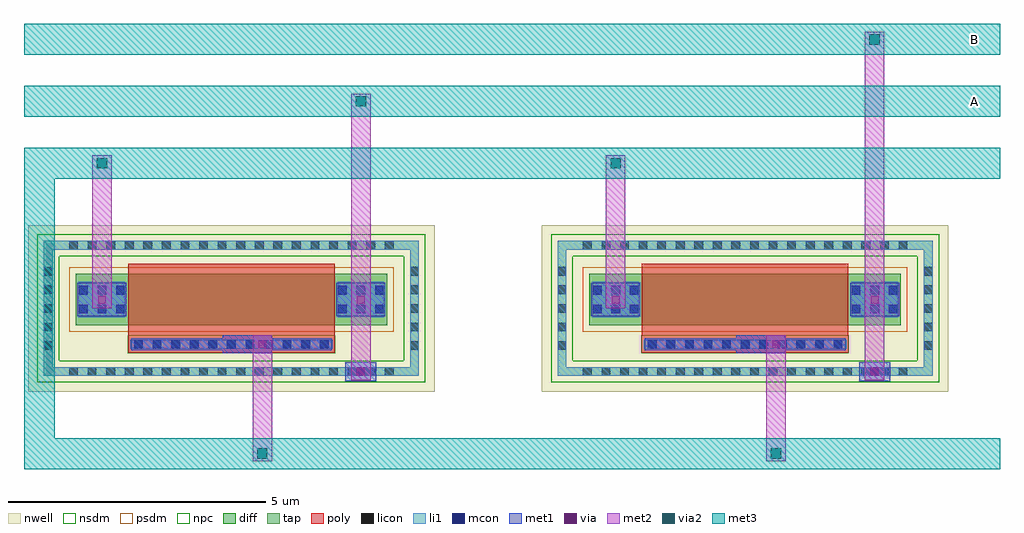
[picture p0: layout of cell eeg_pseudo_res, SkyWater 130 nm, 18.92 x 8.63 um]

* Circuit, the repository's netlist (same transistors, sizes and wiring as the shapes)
* Extracted by KLayout with SKY130 LVS runset on : 05/09/2026 11:02

.SUBCKT eeg_pseudo_res A B
M$1 \$5 \$5 B B sky130_fd_pr__pfet_01v8 L=4 W=1 AS=1.02 AD=1.02 PS=4.04 PD=4.04
M$2 \$5 \$5 A A sky130_fd_pr__pfet_01v8 L=4 W=1 AS=1.02 AD=1.02 PS=4.04 PD=4.04
.ENDS eeg_pseudo_res

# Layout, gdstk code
import gdstk
lib = gdstk.Library(unit=1e-6, precision=1e-09)
def R(c, l, rs):  # rectangles x0, y0, x1, y1
    for r in rs: c.add(gdstk.rectangle(r[:2], r[2:], *l))
def A(c, l, x, y, w, h, nx, ny, dx, dy):  # array of equal rectangles
    R(c, l, [(x+i*dx, y+j*dy, x+i*dx+w, y+j*dy+h) for i in range(nx) for j in range(ny)])
def P(c, l, *ps):  # polygons
    for p in ps: c.add(gdstk.Polygon(p, *l))
nwell = (64, 20)
diff = (65, 20)
tap = (65, 44)
poly = (66, 20)
licon = (66, 44)
li1 = (67, 20)
mcon = (67, 44)
met1 = (68, 20)
via = (68, 44)
met2 = (69, 20)
via2 = (69, 44)
met3 = (70, 20)
nsdm = (93, 44)
psdm = (94, 20)
npc = (95, 20)

pr_p1 = lib.new_cell('pr_p1')
R(pr_p1, nwell, [(-0.92,-1.285,6.96,1.945)])
R(pr_p1, diff, [(0,0,6.04,1)])
P(pr_p1, tap, [(-0.615,-0.98),(-0.615,1.47),(-0.445,1.47),(-0.445,-0.81),(6.485,-0.81),(6.485,1.47),(-0.615,1.47),(-0.615,1.64),(6.655,1.64),(6.655,-0.98)])
R(pr_p1, poly, [(1.02,-0.53,5.02,-0.2), (1.02,-0.2,5.02,1.2)])
A(pr_p1, licon, -0.125, -0.98, 0.17, 0.17, 18, 2, 0.36, 2.45)
A(pr_p1, licon, -0.615, -0.475, 0.17, 0.17, 1, 5, 0, 0.36)
A(pr_p1, licon, 6.485, -0.475, 0.17, 0.17, 1, 5, 0, 0.36)
A(pr_p1, licon, 1.135, -0.45, 0.17, 0.17, 11, 1, 0.36, 0)
A(pr_p1, licon, 0.065, 0.235, 0.17, 0.17, 3, 2, 0.36, 0.36)
A(pr_p1, licon, 5.085, 0.235, 0.17, 0.17, 3, 2, 0.36, 0.36)
R(pr_p1, li1, [(1.055,-0.45,4.985,-0.28), (0.065,0.155,0.955,0.845), (5.085,0.155,5.975,0.845)])
P(pr_p1, li1, [(-0.615,-0.98),(-0.615,1.47),(-0.445,1.47),(-0.445,-0.81),(6.485,-0.81),(6.485,1.47),(-0.615,1.47),(-0.615,1.64),(6.655,1.64),(6.655,-0.98)])
A(pr_p1, mcon, 1.135, -0.45, 0.17, 0.17, 11, 1, 0.36, 0)
A(pr_p1, mcon, 0.065, 0.235, 0.17, 0.17, 3, 2, 0.36, 0.36)
A(pr_p1, mcon, 5.085, 0.235, 0.17, 0.17, 3, 2, 0.36, 0.36)
R(pr_p1, met1, [(1.075,-0.48,4.965,-0.25), (0.035,0.175,0.985,0.825), (5.055,0.175,6.005,0.825)])
P(pr_p1, nsdm, [(-0.74,-1.105),(-0.74,1.345),(-0.32,1.345),(-0.32,-0.685),(6.36,-0.685),(6.36,1.345),(-0.74,1.345),(-0.74,1.765),(6.78,1.765),(6.78,-1.105)])
R(pr_p1, psdm, [(-0.125,-0.125,6.165,1.125)])
R(pr_p1, npc, [(1.01,-0.54,5.03,-0.19)])

pr_p2 = lib.new_cell('pr_p2')
R(pr_p2, nwell, [(-0.92,-1.285,6.96,1.945)])
R(pr_p2, diff, [(0,0,6.04,1)])
P(pr_p2, tap, [(-0.615,-0.98),(-0.615,1.47),(-0.445,1.47),(-0.445,-0.81),(6.485,-0.81),(6.485,1.47),(-0.615,1.47),(-0.615,1.64),(6.655,1.64),(6.655,-0.98)])
R(pr_p2, poly, [(1.02,-0.53,5.02,-0.2), (1.02,-0.2,5.02,1.2)])
A(pr_p2, licon, -0.125, -0.98, 0.17, 0.17, 18, 2, 0.36, 2.45)
A(pr_p2, licon, -0.615, -0.475, 0.17, 0.17, 1, 5, 0, 0.36)
A(pr_p2, licon, 6.485, -0.475, 0.17, 0.17, 1, 5, 0, 0.36)
A(pr_p2, licon, 1.135, -0.45, 0.17, 0.17, 11, 1, 0.36, 0)
A(pr_p2, licon, 0.065, 0.235, 0.17, 0.17, 3, 2, 0.36, 0.36)
A(pr_p2, licon, 5.085, 0.235, 0.17, 0.17, 3, 2, 0.36, 0.36)
R(pr_p2, li1, [(1.055,-0.45,4.985,-0.28), (0.065,0.155,0.955,0.845), (5.085,0.155,5.975,0.845)])
P(pr_p2, li1, [(-0.615,-0.98),(-0.615,1.47),(-0.445,1.47),(-0.445,-0.81),(6.485,-0.81),(6.485,1.47),(-0.615,1.47),(-0.615,1.64),(6.655,1.64),(6.655,-0.98)])
A(pr_p2, mcon, 1.135, -0.45, 0.17, 0.17, 11, 1, 0.36, 0)
A(pr_p2, mcon, 0.065, 0.235, 0.17, 0.17, 3, 2, 0.36, 0.36)
A(pr_p2, mcon, 5.085, 0.235, 0.17, 0.17, 3, 2, 0.36, 0.36)
R(pr_p2, met1, [(1.075,-0.48,4.965,-0.25), (0.035,0.175,0.985,0.825), (5.055,0.175,6.005,0.825)])
P(pr_p2, nsdm, [(-0.74,-1.105),(-0.74,1.345),(-0.32,1.345),(-0.32,-0.685),(6.36,-0.685),(6.36,1.345),(-0.74,1.345),(-0.74,1.765),(6.78,1.765),(6.78,-1.105)])
R(pr_p2, psdm, [(-0.125,-0.125,6.165,1.125)])
R(pr_p2, npc, [(1.01,-0.54,5.03,-0.19)])

eeg_pseudo_res = lib.new_cell('eeg_pseudo_res')
R(eeg_pseudo_res, mcon, [(5.445,-0.98,5.615,-0.81), (15.405,-0.98,15.575,-0.81)])
R(eeg_pseudo_res, met1, [(5.23,-1.08,5.83,-0.71), (15.19,-1.08,15.79,-0.71), (5.36,-1.065,5.7,-0.725), (15.32,-1.065,15.66,-0.725), (2.85,-0.535,3.79,-0.195), (12.81,-0.535,13.75,-0.195), (0.34,0.33,0.68,0.67), (5.36,0.33,5.7,0.67), (10.3,0.33,10.64,0.67), (15.32,0.33,15.66,0.67)])
R(eeg_pseudo_res, via, [(5.455,-0.97,5.605,-0.82), (15.415,-0.97,15.565,-0.82), (3.545,-0.44,3.695,-0.29), (13.505,-0.44,13.655,-0.29), (0.435,0.425,0.585,0.575), (5.455,0.425,5.605,0.575), (10.395,0.425,10.545,0.575), (15.415,0.425,15.565,0.575)])
R(eeg_pseudo_res, met2, [(3.43,-2.635,3.81,-0.195), (13.39,-2.635,13.77,-0.195), (5.34,-1.065,5.72,4.495), (15.3,-1.065,15.68,5.695), (0.32,0.33,0.7,3.295), (5.34,0.33,5.72,4.495), (10.28,0.33,10.66,3.295), (15.3,0.33,15.68,5.695)])
R(eeg_pseudo_res, via2, [(3.52,-2.585,3.72,-2.385), (13.48,-2.585,13.68,-2.385), (0.41,3.045,0.61,3.245), (10.37,3.045,10.57,3.245), (5.43,4.245,5.63,4.445), (5.43,4.245,5.63,4.445), (15.39,5.445,15.59,5.645), (15.39,5.445,15.59,5.645)])
A(eeg_pseudo_res, met3, -1, 2.845, 18.92, 0.6, 1, 3, 0, 1.2)
R(eeg_pseudo_res, met3, [(-1,-2.785,17.92,-2.185), (-1,-2.785,-0.4,3.445)])
eeg_pseudo_res.add(gdstk.Reference(pr_p1, (0,0)))
eeg_pseudo_res.add(gdstk.Reference(pr_p2, (9.96,0)))
eeg_pseudo_res.add(gdstk.Label('A', (17.42,4.345), layer=70, texttype=5))
eeg_pseudo_res.add(gdstk.Label('B', (17.42,5.545), layer=70, texttype=5))

lib.write_gds('eeg_pseudo_res.gds')
